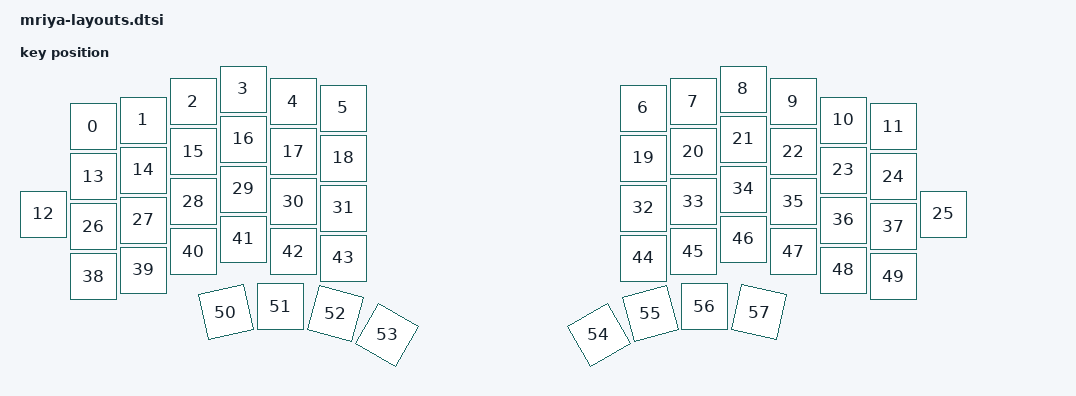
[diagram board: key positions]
#include <physical_layouts.dtsi>

/ {
    physical_layout0: physical_layout_0 {
        compatible = "zmk,physical-layout";
        display-name = "Default";
        kscan = <&kscan0>;
        transform = <&default_transform>;

        keys  //                     w   h    x    y     rot    rx    ry
            = <&key_physical_attrs 100 100  100   75       0     0     0>
            , <&key_physical_attrs 100 100  200   62       0     0     0>
            , <&key_physical_attrs 100 100  300   25       0     0     0>
            , <&key_physical_attrs 100 100  400    0       0     0     0>
            , <&key_physical_attrs 100 100  500   25       0     0     0>
            , <&key_physical_attrs 100 100  600   38       0     0     0>
            , <&key_physical_attrs 100 100 1200   38       0     0     0>
            , <&key_physical_attrs 100 100 1300   25       0     0     0>
            , <&key_physical_attrs 100 100 1400    0       0     0     0>
            , <&key_physical_attrs 100 100 1500   25       0     0     0>
            , <&key_physical_attrs 100 100 1600   62       0     0     0>
            , <&key_physical_attrs 100 100 1700   75       0     0     0>
            , <&key_physical_attrs 100 100    0  250       0     0     0>
            , <&key_physical_attrs 100 100  100  175       0     0     0>
            , <&key_physical_attrs 100 100  200  162       0     0     0>
            , <&key_physical_attrs 100 100  300  125       0     0     0>
            , <&key_physical_attrs 100 100  400  100       0     0     0>
            , <&key_physical_attrs 100 100  500  125       0     0     0>
            , <&key_physical_attrs 100 100  600  138       0     0     0>
            , <&key_physical_attrs 100 100 1200  138       0     0     0>
            , <&key_physical_attrs 100 100 1300  125       0     0     0>
            , <&key_physical_attrs 100 100 1400  100       0     0     0>
            , <&key_physical_attrs 100 100 1500  125       0     0     0>
            , <&key_physical_attrs 100 100 1600  162       0     0     0>
            , <&key_physical_attrs 100 100 1700  175       0     0     0>
            , <&key_physical_attrs 100 100 1800  250       0     0     0>
            , <&key_physical_attrs 100 100  100  275       0     0     0>
            , <&key_physical_attrs 100 100  200  262       0     0     0>
            , <&key_physical_attrs 100 100  300  225       0     0     0>
            , <&key_physical_attrs 100 100  400  200       0     0     0>
            , <&key_physical_attrs 100 100  500  225       0     0     0>
            , <&key_physical_attrs 100 100  600  238       0     0     0>
            , <&key_physical_attrs 100 100 1200  238       0     0     0>
            , <&key_physical_attrs 100 100 1300  225       0     0     0>
            , <&key_physical_attrs 100 100 1400  200       0     0     0>
            , <&key_physical_attrs 100 100 1500  225       0     0     0>
            , <&key_physical_attrs 100 100 1600  262       0     0     0>
            , <&key_physical_attrs 100 100 1700  275       0     0     0>
            , <&key_physical_attrs 100 100  100  375       0     0     0>
            , <&key_physical_attrs 100 100  200  362       0     0     0>
            , <&key_physical_attrs 100 100  300  325       0     0     0>
            , <&key_physical_attrs 100 100  400  300       0     0     0>
            , <&key_physical_attrs 100 100  500  325       0     0     0>
            , <&key_physical_attrs 100 100  600  338       0     0     0>
            , <&key_physical_attrs 100 100 1200  338       0     0     0>
            , <&key_physical_attrs 100 100 1300  325       0     0     0>
            , <&key_physical_attrs 100 100 1400  300       0     0     0>
            , <&key_physical_attrs 100 100 1500  325       0     0     0>
            , <&key_physical_attrs 100 100 1600  362       0     0     0>
            , <&key_physical_attrs 100 100 1700  375       0     0     0>
            , <&key_physical_attrs 100 100  375  435 (-1200)   475   535>
            , <&key_physical_attrs 100 100  475  435       0     0     0>
            , <&key_physical_attrs 100 100  600  438    1500   600   438>
            , <&key_physical_attrs 100 100  670  460    3000   670   560>
            , <&key_physical_attrs 100 100 1130  460 (-3000)  1230   560>
            , <&key_physical_attrs 100 100 1200  438 (-1500)  1300   438>
            , <&key_physical_attrs 100 100 1323  435       0     0     0>
            , <&key_physical_attrs 100 100 1423  435    1200  1423   535>
            ;
    };

    position_map {
        compatible = "zmk,physical-layout-position-map";
        complete;

        physical_layout0 {
            physical-layout = <&physical_layout0>;
            positions = <
                // Row 0
                 0  1  2  3  4  5  6  7  8  9 10 11
                // Row 1
                12 13 14 15 16 17 18 19 20 21 22 23 24 25
                // Row 2
                26 27 28 29 30 31 32 33 34 35 36 37
                // Row 3
                38 39 40 41 42 43 44 45 46 47 48 49
                // Row 4 (thumb keys)
                50 51 52 53 54 55 56 57
            >;
        };
    };
};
